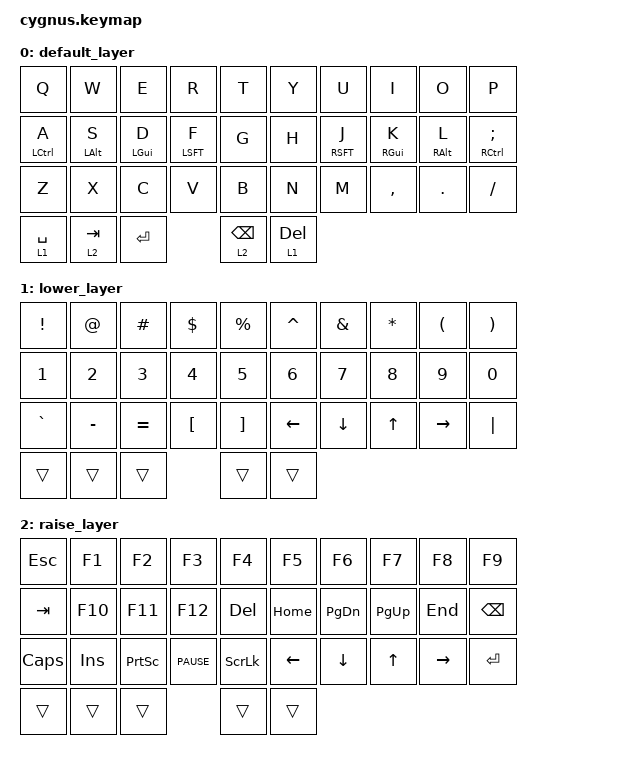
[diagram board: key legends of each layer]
#include <behaviors.dtsi>
#include <dt-bindings/zmk/keys.h>

/ {
    behaviors {
        hml: home_row_mod_left {
            compatible = "zmk,behavior-hold-tap";
            label = "HML";
            #binding-cells = <2>;
            tapping-term-ms = <200>;
            quick-tap-ms = <175>;
            bindings = <&kp &kp>;
        };

        hmr: home_row_mod_right {
            compatible = "zmk,behavior-hold-tap";
            label = "HMR";
            #binding-cells = <2>;
            tapping-term-ms = <200>;
            quick-tap-ms = <175>;
            bindings = <&kp &kp>;
        };
    };

    keymap {
        compatible = "zmk,keymap";

        default_layer {
            bindings = <
                &kp Q     &kp W     &kp E     &kp R     &kp T       &kp Y     &kp U     &kp I     &kp O     &kp P
                &hml LCTL A &hml LALT S &hml LGUI D &hml LSFT F &kp G   &kp H   &hmr RSFT J &hmr RGUI K &hmr RALT L &hmr RCTL SEMI
                &kp Z     &kp X     &kp C     &kp V     &kp B       &kp N     &kp M     &kp COMMA &kp DOT   &kp SLASH
                &lt 1 SPACE &lt 2 TAB  &kp ENTER    &lt 2 BSPC   &lt 1 DEL
            >;
        };

        lower_layer {
            bindings = <
                &kp EXCL  &kp AT    &kp HASH  &kp DLLR  &kp PERCENT   &kp CARET &kp AMPS  &kp ASTERISK &kp LPAR &kp RPAR
                &kp N1    &kp N2    &kp N3    &kp N4    &kp N5        &kp N6    &kp N7    &kp N8       &kp N9   &kp N0
                &kp GRAVE &kp MINUS &kp EQUAL &kp LBKT  &kp RBKT      &kp LEFT  &kp DOWN  &kp UP       &kp RIGHT &kp PIPE
                &trans    &trans    &trans    &trans     &trans
            >;
        };

        raise_layer {
            bindings = <
                &kp ESCAPE &kp F1 &kp F2 &kp F3 &kp F4    &kp F5 &kp F6 &kp F7 &kp F8 &kp F9
                &kp TAB    &kp F10 &kp F11 &kp F12 &kp DELETE  &kp HOME &kp PG_DN &kp PG_UP &kp END &kp BSPC
                &kp CAPS   &kp INS &kp PSCRN &kp PAUSE &kp SLCK &kp LEFT &kp DOWN &kp UP &kp RIGHT &kp ENTER
                &trans     &trans  &trans     &trans     &trans
            >;
        };
    };
};
